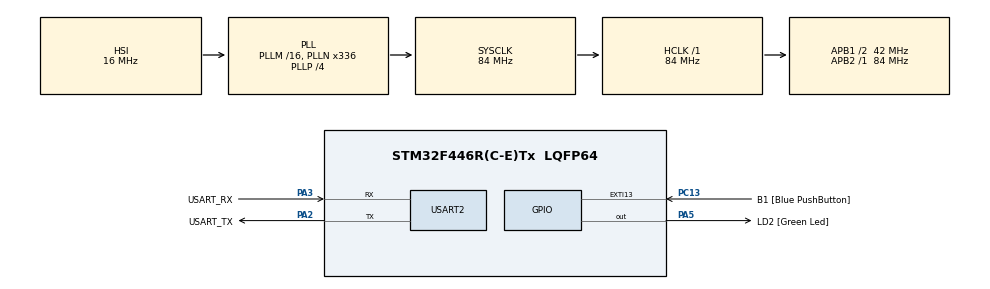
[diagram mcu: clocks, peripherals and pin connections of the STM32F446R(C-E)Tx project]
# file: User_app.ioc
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Mcu.Family=STM32F4
Mcu.Name=STM32F446R(C-E)Tx
Mcu.Package=LQFP64
NVIC.EXTI15_10_IRQn=true\:0\:0\:false\:false\:true\:true\:true\:true
NVIC.PriorityGroup=NVIC_PRIORITYGROUP_0
PA13.GPIO_Label=TMS
PA13.Signal=SYS_JTMS-SWDIO
PA14.GPIO_Label=TCK
PA14.Signal=SYS_JTCK-SWCLK
PA2.GPIO_Label=USART_TX
PA2.Mode=Asynchronous
PA2.Signal=USART2_TX
PA3.GPIO_Label=USART_RX
PA3.Mode=Asynchronous
PA3.Signal=USART2_RX
PA5.GPIO_Label=LD2 [Green Led]
PA5.Signal=GPIO_Output
PB3.GPIO_Label=SWO
PB3.Signal=SYS_JTDO-SWO
PC13.GPIO_Label=B1 [Blue PushButton]
PC13.GPIO_ModeDefaultEXTI=GPIO_MODE_IT_FALLING
PC13.Signal=GPXTI13
PC14-OSC32_IN.Signal=RCC_OSC32_IN
PC15-OSC32_OUT.Signal=RCC_OSC32_OUT
PH0-OSC_IN.Signal=RCC_OSC_IN
PH1-OSC_OUT.Signal=RCC_OSC_OUT
ProjectManager.HeapSize=0x200
ProjectManager.StackSize=0x400
ProjectManager.TargetToolchain=STM32CubeIDE
RCC.AHBFreq_Value=84000000
RCC.APB1CLKDivider=RCC_HCLK_DIV2
RCC.APB1Freq_Value=42000000
RCC.APB1TimFreq_Value=84000000
RCC.APB2Freq_Value=84000000
RCC.APB2TimFreq_Value=84000000
RCC.CortexFreq_Value=84000000
RCC.FLatency-AdvancedSettings=FLASH_LATENCY_2
RCC.HCLKFreq_Value=84000000
RCC.HSE_VALUE=8000000
RCC.HSI_VALUE=16000000
RCC.LSE_VALUE=32768
RCC.PLLN=336
RCC.PLLP=RCC_PLLP_DIV4
RCC.SYSCLKFreq_VALUE=84000000
RCC.SYSCLKSource=RCC_SYSCLKSOURCE_PLLCLK
RCC.USBFreq_Value=168000000
RCC.VCOOutputFreq_Value=336000000
USART2.VirtualMode=VM_ASYNC
board=NUCLEO-F446RE

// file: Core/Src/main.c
/* USER CODE BEGIN Header */
/**
  ******************************************************************************
  * @file           : main.c
  * @brief          : Main program body
  ******************************************************************************
  * @attention
  *
  * Copyright (c) 2026 STMicroelectronics.
  * All rights reserved.
  *
  * This software is licensed under terms that can be found in the LICENSE file
  * in the root directory of this software component.
  * If no LICENSE file comes with this software, it is provided AS-IS.
  *
  ******************************************************************************
  */
/* USER CODE END Header */
#include "main.h"

UART_HandleTypeDef huart2;

/* USER CODE BEGIN PV */
UART_HandleTypeDef huart3;
/* USER CODE END PV */

void SystemClock_Config(void);
static void MX_GPIO_Init(void);
static void MX_USART2_UART_Init(void);
/* USER CODE BEGIN PFP */
static void printmsg(char *format,...);
/* USER CODE END PFP */

int main(void)
{

  /* MCU Configuration--------------------------------------------------------*/

  /* Reset of all peripherals, Initializes the Flash interface and the Systick. */
  HAL_Init();

  /* Configure the system clock */
  SystemClock_Config();

  /* Initialize all configured peripherals */
  MX_GPIO_Init();
  MX_USART2_UART_Init();

  /* Infinite loop */
  while (1)
  {
	  printmsg("Hello from user application\n\r");
	  HAL_Delay(1000);

  }
}

void SystemClock_Config(void)
{
  RCC_OscInitTypeDef RCC_OscInitStruct = {0};
  RCC_ClkInitTypeDef RCC_ClkInitStruct = {0};

  /** Configure the main internal regulator output voltage
  */
  __HAL_RCC_PWR_CLK_ENABLE();
  __HAL_PWR_VOLTAGESCALING_CONFIG(PWR_REGULATOR_VOLTAGE_SCALE3);

  /** Initializes the RCC Oscillators according to the specified parameters
  * in the RCC_OscInitTypeDef structure.
  */
  RCC_OscInitStruct.OscillatorType = RCC_OSCILLATORTYPE_HSI;
  RCC_OscInitStruct.HSIState = RCC_HSI_ON;
  RCC_OscInitStruct.HSICalibrationValue = RCC_HSICALIBRATION_DEFAULT;
  RCC_OscInitStruct.PLL.PLLState = RCC_PLL_ON;
  RCC_OscInitStruct.PLL.PLLSource = RCC_PLLSOURCE_HSI;
  RCC_OscInitStruct.PLL.PLLM = 16;
  RCC_OscInitStruct.PLL.PLLN = 336;
  RCC_OscInitStruct.PLL.PLLP = RCC_PLLP_DIV4;
  RCC_OscInitStruct.PLL.PLLQ = 2;
  RCC_OscInitStruct.PLL.PLLR = 2;
  if (HAL_RCC_OscConfig(&RCC_OscInitStruct) != HAL_OK)
  {
    Error_Handler();
  }

  /** Initializes the CPU, AHB and APB buses clocks
  */
  RCC_ClkInitStruct.ClockType = RCC_CLOCKTYPE_HCLK|RCC_CLOCKTYPE_SYSCLK
                              |RCC_CLOCKTYPE_PCLK1|RCC_CLOCKTYPE_PCLK2;
  RCC_ClkInitStruct.SYSCLKSource = RCC_SYSCLKSOURCE_PLLCLK;
  RCC_ClkInitStruct.AHBCLKDivider = RCC_SYSCLK_DIV1;
  RCC_ClkInitStruct.APB1CLKDivider = RCC_HCLK_DIV2;
  RCC_ClkInitStruct.APB2CLKDivider = RCC_HCLK_DIV1;

  if (HAL_RCC_ClockConfig(&RCC_ClkInitStruct, FLASH_LATENCY_2) != HAL_OK)
  {
    Error_Handler();
  }
}

static void MX_USART2_UART_Init(void)
{

  /* USER CODE BEGIN USART2_Init 0 */
  huart3.Instance = USART3;
  huart3.Init.BaudRate = 115200;
  huart3.Init.WordLength = UART_WORDLENGTH_8B;
  huart3.Init.StopBits = UART_STOPBITS_1;
  huart3.Init.Parity = UART_PARITY_NONE;
  huart3.Init.Mode = UART_MODE_TX_RX;
  huart3.Init.HwFlowCtl = UART_HWCONTROL_NONE;
  huart3.Init.OverSampling = UART_OVERSAMPLING_16;
  if (HAL_UART_Init(&huart3) != HAL_OK)
  {
	Error_Handler();
  }

  /* USER CODE END USART2_Init 0 */

  huart2.Instance = USART2;
  huart2.Init.BaudRate = 115200;
  huart2.Init.WordLength = UART_WORDLENGTH_8B;
  huart2.Init.StopBits = UART_STOPBITS_1;
  huart2.Init.Parity = UART_PARITY_NONE;
  huart2.Init.Mode = UART_MODE_TX_RX;
  huart2.Init.HwFlowCtl = UART_HWCONTROL_NONE;
  huart2.Init.OverSampling = UART_OVERSAMPLING_16;
  if (HAL_UART_Init(&huart2) != HAL_OK)
  {
    Error_Handler();
  }

}

static void MX_GPIO_Init(void)
{
  GPIO_InitTypeDef GPIO_InitStruct = {0};

  /* GPIO Ports Clock Enable */
  __HAL_RCC_GPIOC_CLK_ENABLE();
  __HAL_RCC_GPIOH_CLK_ENABLE();
  __HAL_RCC_GPIOA_CLK_ENABLE();
  __HAL_RCC_GPIOB_CLK_ENABLE();

  /*Configure GPIO pin Output Level */
  HAL_GPIO_WritePin(LD2_GPIO_Port, LD2_Pin, GPIO_PIN_RESET);

  /*Configure GPIO pin : B1_Pin */
  GPIO_InitStruct.Pin = B1_Pin;
  GPIO_InitStruct.Mode = GPIO_MODE_IT_FALLING;
  GPIO_InitStruct.Pull = GPIO_NOPULL;
  HAL_GPIO_Init(B1_GPIO_Port, &GPIO_InitStruct);

  /*Configure GPIO pin : LD2_Pin */
  GPIO_InitStruct.Pin = LD2_Pin;
  GPIO_InitStruct.Mode = GPIO_MODE_OUTPUT_PP;
  GPIO_InitStruct.Pull = GPIO_NOPULL;
  GPIO_InitStruct.Speed = GPIO_SPEED_FREQ_LOW;
  HAL_GPIO_Init(LD2_GPIO_Port, &GPIO_InitStruct);

  /* EXTI interrupt init*/
  HAL_NVIC_SetPriority(EXTI15_10_IRQn, 0, 0);
  HAL_NVIC_EnableIRQ(EXTI15_10_IRQn);

  /* USER CODE BEGIN MX_GPIO_Init_2 */
  GPIO_InitStruct.Pin = GPIO_PIN_10; //USART3_TX
  GPIO_InitStruct.Mode = GPIO_MODE_AF_PP;
  GPIO_InitStruct.Pull = GPIO_PULLUP;
  GPIO_InitStruct.Speed = GPIO_SPEED_FREQ_HIGH;
  GPIO_InitStruct.Alternate = 7;
  HAL_GPIO_Init(GPIOB, &GPIO_InitStruct);

  GPIO_InitStruct.Pin = GPIO_PIN_5; //USART3_RX
  GPIO_InitStruct.Mode = GPIO_MODE_AF_PP;
  GPIO_InitStruct.Pull = GPIO_PULLUP;
  GPIO_InitStruct.Speed = GPIO_SPEED_FREQ_HIGH;
  GPIO_InitStruct.Alternate = 7;
  HAL_GPIO_Init(GPIOC, &GPIO_InitStruct);
  /* USER CODE END MX_GPIO_Init_2 */
}

/* USER CODE BEGIN 4 */
static void printmsg(char *format,...)
{
	char str[80];

	/* Extract the argumet list using VA apis*/
	va_list args;
	va_start(args, format);
	vsprintf(str, format, args);
	HAL_UART_Transmit(&huart3, (uint8_t*)str, strlen(str), HAL_MAX_DELAY);
	va_end(args);
}

/* USER CODE END 4 */

void Error_Handler(void)
{
  __disable_irq();
  while (1)
  {
  }
}
